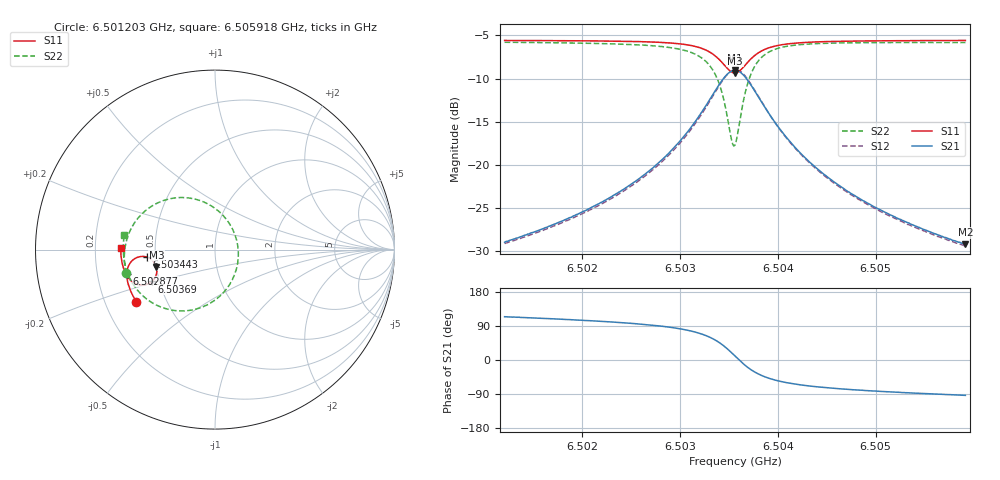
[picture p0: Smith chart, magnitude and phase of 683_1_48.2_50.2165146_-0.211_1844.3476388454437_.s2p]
#  HZ  S  RI  R  50.00
! Rohde & Schwarz Vector Network Analyzer
! Rohde-Schwarz,ZNB20-2Port,1311601062101988,3.16
! Created: UTC 3/20/2024, 12:06:43 PM
! freq[Hz]  re:S11  im:S11  re:S21  im:S21  re:S12  im:S12  re:S22  im:S22
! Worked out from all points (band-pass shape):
!   401 points, 6.501203 GHz to 6.505918 GHz, reference 50 ohm
!   highest |S21| = -9.04 dB at 6.503561 GHz (marker M1); lowest = -29.2 dB at 6.505918 GHz (marker M2)
!   |S21| within 3 dB of the highest: 6.503323 GHz to 6.503796 GHz (472.2 kHz wide, 0.00726 % of centre)
!   lowest |S11| = -9.4 dB at 6.503561 GHz (marker M3), VSWR 2.03, Z = 25 - j5.46 ohm
!   |S11| at or under -10 dB: nowhere
!   |S22| runs from -17.8 to -5.8 dB; largest |S21 - S12| = 0.014
!   S11 on the Smith chart (normalised r, x): 6.501203 GHz: 0.34, -0.27; 6.502877 GHz: 0.33, -0.12; 6.503443 GHz: 0.45, -0.04; 6.50369 GHz: 0.46, -0.19; 6.505918 GHz: 0.31, +0.01
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6.5012033e9  -0.4388 -0.2897  -0.0146 0.0325  -0.0126 0.0326  -0.4959 -0.1326
6.501993e9  -0.4706 -0.2293  -0.0136 0.0514  -0.0109 0.0509  -0.5052 -0.0447
6.5024055e9  -0.4841 -0.1912  -0.0105 0.0707  -0.00689 0.0694  -0.5002 0.0169
6.5027827e9  -0.4916 -0.1476  -7.73e-06 0.1033  0.00443 0.1005  -0.4767 0.0973
6.502877e9  -0.4917 -0.1342  0.00594 0.1157  0.0105 0.1126  -0.4635 0.1242
6.5030773e9  -0.4854 -0.0995  0.0314 0.1526  0.0359 0.1474  -0.411 0.1951
6.5032188e9  -0.4685 -0.069  0.0735 0.1876  0.0772 0.1808  -0.3298 0.255
6.5033484e9  -0.4303 -0.0425  0.1545 0.2135  0.1562 0.2059  -0.1827 0.29
6.5034427e9  -0.3816 -0.0412  0.2497 0.1945  0.2507 0.1882  -0.0178 0.242
6.5035252e9  -0.3375 -0.073  0.33 0.115  0.3333 0.1086  0.1102 0.0854
6.5035606e9  -0.3267 -0.0966  0.3474 0.0639  0.3515 0.0561  0.1299 -0.0109
6.5035842e9  -0.3241 -0.1137  0.3504 0.0277  0.3547 0.0184  0.126 -0.0772
6.5036195e9  -0.3269 -0.1388  0.3418 -0.0243  0.345 -0.0358  0.0957 -0.1695
6.5036902e9  -0.3507 -0.1771  0.2919 -0.1028  0.2908 -0.1165  -0.0213 -0.2956
6.5037845e9  -0.3933 -0.197  0.2102 -0.1462  0.2036 -0.1582  -0.1878 -0.3417
6.5038552e9  -0.4204 -0.1966  0.1607 -0.151  0.1525 -0.1601  -0.2796 -0.3276
6.5039377e9  -0.444 -0.1891  0.1187 -0.1444  0.1102 -0.1507  -0.3529 -0.2946
6.5041027e9  -0.4737 -0.1678  0.0694 -0.1223  0.0617 -0.1251  -0.433 -0.2247
6.5043503e9  -0.4963 -0.1363  0.0354 -0.0944  0.0297 -0.0949  -0.4816 -0.1447
6.5047274e9  -0.5124 -0.0953  0.0149 -0.0679  0.0108 -0.0674  -0.5055 -0.0638
6.5051399e9  -0.5208 -0.0563  0.00536 -0.0513  0.00269 -0.0507  -0.5113 -0.00231
6.5059178e9  -0.5258 0.0106  -0.00202 -0.0345  -0.00358 -0.0336  -0.5044 0.0839
